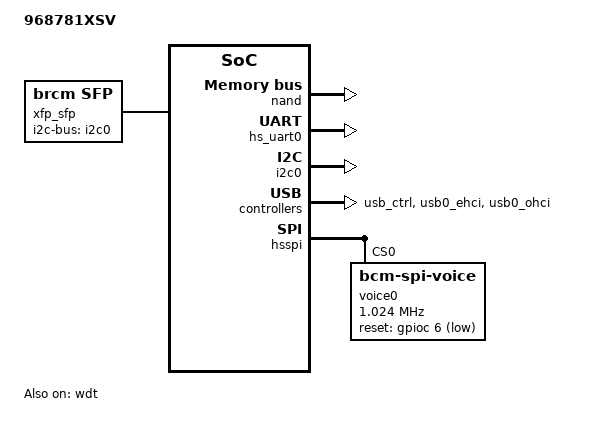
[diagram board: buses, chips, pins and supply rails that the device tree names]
#include "inc/68781.dtsi"
#include "../bcm_voice.dtsi"

/ {
    model = "968781XSV";
};

/ {
    memory_controller {
        memcfg = <(BP_DDR_SPEED_800_11_11_11  | \
                   BP_DDR_TOTAL_SIZE_256MB    | \
                   BP_DDR_DEVICE_WIDTH_8      | \
                   BP_DDR_TOTAL_WIDTH_8BIT)>;
    };

    xfp_sfp: xfp_sfp {
        compatible = "brcm,sfp";
        pinctrl-names = "default", "tx-sd";
        pinctrl-0 = <&pon_lbe_p_pin_61>;
        pinctrl-1 = <&pon_lbe_p_pin_61 &rogue_onu_in_pin_13>;
        i2c-bus = <&i2c0>;
    };

    wan_serdes {
            compatible = "brcm,pon-drv";
            trx = <&xfp_sfp>;
    };
};

&mdio {
        phy1:1 {
                status = "okay";
        };

        phy2:2 {
                status = "okay";
        };

        phy3:3 {
                status = "okay";
        };

        phy4:4 {
                status = "okay";
        };
};

&switch0 {
        pinctrl-names = "default";
        pinctrl-0 = <&per_mdc_pin_52 &per_mdio_pin_53>;

        ports {
                port0@0 {
                        network-leds = <&led8 &led9>;
                        status = "okay";
                };

                port1@1 {
                        network-leds = <&led10 &led11>;
                        status = "okay";
                };

                port2@2 {
                        network-leds = <&led12 &led13>;
                        status = "okay";
                };

                port3@3 {
                        network-leds = <&led14 &led15>;
                        status = "okay";
                };
        };
};

&led_ctrl {
    pinctrl-names = "default";
    pinctrl-0 = <&a_ser_led_clk_pin_8 &a_ser_led_data_pin_9 &a_ser_led_mask_pin_7>;
    serial-shifters-installed = <4>;

    led0: sw_led-bit_0 {
              active_low;
              status = "okay";
              label = "LED_0";
          };
    led1: sw_led-bit_1 {
              active_low;
              status = "okay";
              label = "LED_1";
          };
    led2: sw_led-bit_2 {
              active_low;
              status = "okay";
              label = "LED_2";
          };
    led3: sw_led-bit_3 {
              active_low;
              status = "okay";
              label = "LED_3";
          };
    led4: sw_led-bit_4 {
              active_low;
              status = "okay";
              label = "LED_4";
          };
    led5: sw_led-bit_5 {
              active_low;
              status = "okay";
              label = "LED_5";
          };
    led6: sw_led-bit_6 {
              active_low;
              status = "okay";
              label = "LED_6";
          };
    led7: sw_led-bit_7 {
              active_low;
              status = "okay";
              label = "LED_7";
          };
    led8: port_0-led_0-bit_8 {
              active_low;
              status = "okay";
              link = <LED_SPEED_GBE>;
          };
    led9: port_0-led_1-bit_9 {
              active_low;
              status = "okay";
              activity = <LED_SPEED_GBE>;
          };
    led10: port_1-led_0-bit_10 {
              active_low;
              status = "okay";
              link = <LED_SPEED_GBE>;
          };
    led11: port_1-led_1-bit_11 {
              active_low;
              status = "okay";
              activity = <LED_SPEED_GBE>;
          };
    led12: port_2-led_0-bit_12 {
              active_low;
              status = "okay";
              link = <LED_SPEED_GBE>;
          };
    led13: port_2-led_1-bit_13 {
              active_low;
              status = "okay";
              activity = <LED_SPEED_GBE>;
          };
    led14: port_3-led_0-bit_14 {
              active_low;
              status = "okay";
              link = <LED_SPEED_GBE>;
          };
    led15: port_3-led_1-bit_15 {
               active_low;
               status = "okay";
               activity = <LED_SPEED_GBE>;
          };
};

&legacy_leds {
    wan-data-led = <&led0>;
    voip1-ok-led = <&led1>;
    voip2-ok-led = <&led2>;
    usb-led = <&led3>;
    wl-sess-led = <&led4>;
};

&nand {
	status = "okay";
};
&hs_uart0 {
	status = "okay";
};
&wdt {
	status = "okay";
};
&i2c0 {
    pinctrl-names = "default";
    pinctrl-0 = <&i2c_scl_pin_62 &i2c_sda_pin_63>;
	status = "okay";
};
&usb_ctrl {
    pinctrl-names = "default";
    pinctrl-0 = <&usb0_pwr_pins>;
	status = "okay";
};
&usb0_ehci {
	status = "okay";
};
&usb0_ohci {
	status = "okay";
};
&hsspi {
	status = "okay";
	pinctrl-0 = <&spim_group_pins>;
	pinctrl-names = "default";
	voice0 {
		pinctrl-0 = <&spim_ss0_b_pin_59>;
		pinctrl-names = "default";
		compatible = "bcm-spi-voice";
		reg = <0>; /* chip select 0 */
		spi-max-frequency = <1024000>;
		reset-gpio = <&gpioc 6 GPIO_ACTIVE_LOW>;
		spi-index = <0>;
	};
};
&bcm_voice{
	sliclist = SLICSLAC_LIST_COMMON_NOFXO;
 };

